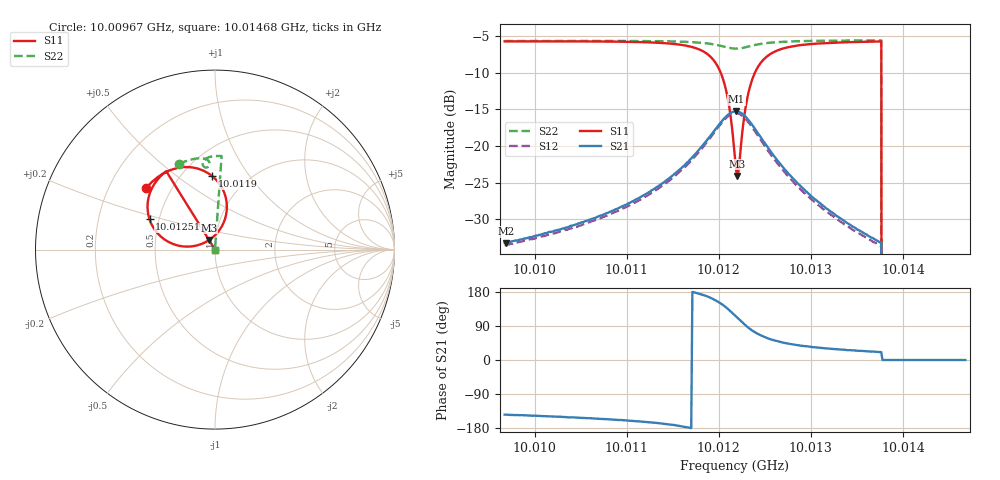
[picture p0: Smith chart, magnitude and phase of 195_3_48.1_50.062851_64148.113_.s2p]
#  HZ  S  RI  R  50.00
! Rohde & Schwarz Vector Network Analyzer
! Rohde-Schwarz,ZNB20-2Port,1311601062101988,3.16
! Created: UTC 12/23/2023, 3:54:11 AM
! freq[Hz]  re:S11  im:S11  re:S21  im:S21  re:S12  im:S12  re:S22  im:S22
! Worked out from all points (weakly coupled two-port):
!   401 points, 10.00967 GHz to 10.01468 GHz, reference 50 ohm
!   highest |S21| = -15.29 dB at 10.01219 GHz (marker M1); lowest = -33.3 dB at 10.00969 GHz (marker M2)
!   lowest |S11| = -24.1 dB at 10.0122 GHz (marker M3), VSWR 1.13, Z = 46.5 + j4.96 ohm
!   |S11| at or under -10 dB: 10.01202 GHz to 10.01239 GHz (373.8 kHz wide, 0.00373 % of centre); 10.01377 GHz to end of sweep
!   |S22| runs from - to -5.6 dB; largest |S21 - S12| = 0.009
!   S11 on the Smith chart (normalised r, x): 10.00967 GHz: 0.36, +0.34; 10.0119 GHz: 0.69, +0.68; 10.01251 GHz: 0.44, +0.18; 10.01468 GHz: 1.00, +0.00
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1.0009674e10  -0.383 0.3448  -0.0178 -0.0128  -0.0165 -0.0132  -0.2014 0.4775
1.0009686e10  -0.3823 0.3456  -0.0176 -0.0127  -0.0164 -0.0133  -0.2006 0.4778
1.0010512e10  -0.3277 0.3972  -0.0268 -0.0138  -0.025 -0.0146  -0.1487 0.4972
1.001135e10  -0.2247 0.4509  -0.0522 -0.0122  -0.0496 -0.0145  -0.0888 0.5091
1.0011713e10  -0.1174 0.4561  -0.0839 0.000615  -0.081 -0.00375  -0.0563 0.5062
1.0011901e10  -0.0161 0.4098  -0.1116 0.0295  -0.1099 0.023  -0.0375 0.4952
1.0011988e10  0.0377 0.346  -0.1225 0.0594  -0.1225 0.0512  -0.031 0.4846
1.0012064e10  0.0654 0.2536  -0.122 0.0956  -0.1232 0.088  -0.0306 0.4723
1.0012126e10  0.0503 0.1553  -0.1048 0.1308  -0.1084 0.1225  -0.0363 0.4625
1.0012176e10  0.00203 0.082  -0.0786 0.1529  -0.0826 0.1459  -0.0448 0.4577
1.0012189e10  -0.0145 0.0668  -0.0708 0.1568  -0.0746 0.15  -0.0473 0.4573
1.0012201e10  -0.0331 0.053  -0.0625 0.1599  -0.0665 0.1534  -0.0498 0.4573
1.0012226e10  -0.0732 0.0321  -0.0459 0.1634  -0.0498 0.1573  -0.0546 0.458
1.0012289e10  -0.1782 0.0178  -0.00504 0.1586  -0.00937 0.1531  -0.0645 0.4651
1.0012339e10  -0.2502 0.0383  0.0205 0.1444  0.0148 0.1395  -0.0683 0.4732
1.0012414e10  -0.3222 0.0933  0.0422 0.118  0.0366 0.1145  -0.0681 0.4851
1.0012514e10  -0.3649 0.1695  0.0526 0.0869  0.0469 0.0849  -0.0618 0.4975
1.0013014e10  -0.3438 0.3559  0.0372 0.0253  0.0341 0.0259  -0.0183 0.5184
1.001374e10  -0.2739 0.4352  0.0208 0.00798  0.0193 0.00873  0.0353 0.5214
1.0013803e10  0 0  0 0  0 0  0 0
1.0013853e10  0 0  0 0  0 0  0 0
1.0014678e10  0 0  0 0  0 0  0 0
